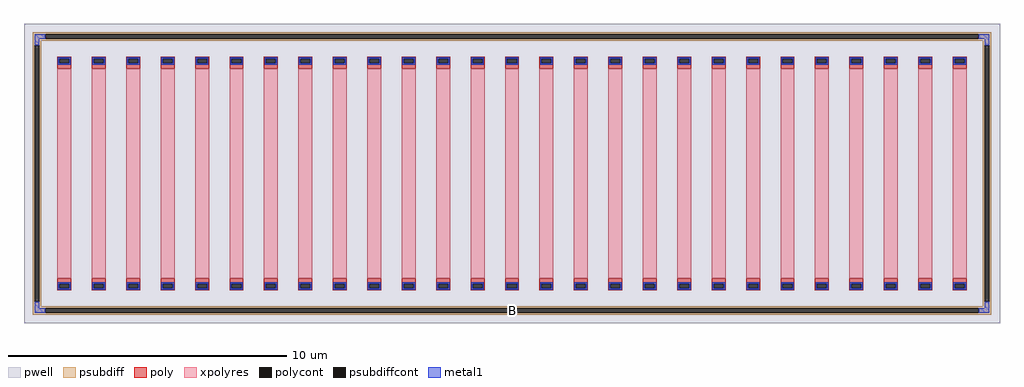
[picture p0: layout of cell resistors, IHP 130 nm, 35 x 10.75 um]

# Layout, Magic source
magic
tech ihp-sg13g2
magscale 1 2
<< pwell >>
rect -2837 -1059 4163 1091
<< psubdiff >>
rect -2775 1015 4101 1029
rect -2775 983 -2683 1015
rect 4009 983 4101 1015
rect -2775 969 4101 983
rect -2775 937 -2715 969
rect -2775 -905 -2761 937
rect -2729 -905 -2715 937
rect -2775 -937 -2715 -905
rect 4041 937 4101 969
rect 4041 -905 4055 937
rect 4087 -905 4101 937
rect 4041 -937 4101 -905
rect -2775 -951 4101 -937
rect -2775 -983 -2683 -951
rect 4009 -983 4101 -951
rect -2775 -997 4101 -983
<< psubdiffcont >>
rect -2683 983 4009 1015
rect -2761 -905 -2729 937
rect 4055 -905 4087 937
rect -2683 -983 4009 -951
<< metal1 >>
rect -2761 983 -2683 1015
rect 4009 983 4087 1015
rect -2761 937 -2729 983
rect -2761 -951 -2729 -905
rect 4055 937 4087 983
rect 4055 -951 4087 -905
rect -2761 -983 -2683 -951
rect 4009 -983 4087 -951
use rhigh  rhigh_0
transform 1 0 -2598 0 1 -734
box 0 -86 100 1586
use rhigh  rhigh_1
transform 1 0 -2351 0 1 -734
box 0 -86 100 1586
use rhigh  rhigh_2
transform 1 0 -2104 0 1 -734
box 0 -86 100 1586
use rhigh  rhigh_3
transform 1 0 -1857 0 1 -734
box 0 -86 100 1586
use rhigh  rhigh_4
transform 1 0 -1610 0 1 -734
box 0 -86 100 1586
use rhigh  rhigh_5
transform 1 0 -1363 0 1 -734
box 0 -86 100 1586
use rhigh  rhigh_6
transform 1 0 -1116 0 1 -734
box 0 -86 100 1586
use rhigh  rhigh_7
transform 1 0 -869 0 1 -734
box 0 -86 100 1586
use rhigh  rhigh_8
transform 1 0 -622 0 1 -734
box 0 -86 100 1586
use rhigh  rhigh_9
transform 1 0 -375 0 1 -734
box 0 -86 100 1586
use rhigh  rhigh_10
transform 1 0 -128 0 1 -734
box 0 -86 100 1586
use rhigh  rhigh_11
transform 1 0 119 0 1 -734
box 0 -86 100 1586
use rhigh  rhigh_12
transform 1 0 366 0 1 -734
box 0 -86 100 1586
use rhigh  rhigh_13
transform 1 0 613 0 1 -734
box 0 -86 100 1586
use rhigh  rhigh_14
transform 1 0 860 0 1 -734
box 0 -86 100 1586
use rhigh  rhigh_15
transform 1 0 1107 0 1 -734
box 0 -86 100 1586
use rhigh  rhigh_16
transform 1 0 1354 0 1 -734
box 0 -86 100 1586
use rhigh  rhigh_17
transform 1 0 1601 0 1 -734
box 0 -86 100 1586
use rhigh  rhigh_18
transform 1 0 1848 0 1 -734
box 0 -86 100 1586
use rhigh  rhigh_19
transform 1 0 2095 0 1 -734
box 0 -86 100 1586
use rhigh  rhigh_20
transform 1 0 2342 0 1 -734
box 0 -86 100 1586
use rhigh  rhigh_21
transform 1 0 2589 0 1 -734
box 0 -86 100 1586
use rhigh  rhigh_22
transform 1 0 2836 0 1 -734
box 0 -86 100 1586
use rhigh  rhigh_23
transform 1 0 3083 0 1 -734
box 0 -86 100 1586
use rhigh  rhigh_24
transform 1 0 3330 0 1 -734
box 0 -86 100 1586
use rhigh  rhigh_25
transform 1 0 3577 0 1 -734
box 0 -86 100 1586
use rhigh  rhigh_26
transform 1 0 3824 0 1 -734
box 0 -86 100 1586
<< labels >>
rlabel psubdiffcont 663 -967 663 -967 0 B
port 1 nsew
<< end >>

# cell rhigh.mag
magic
tech ihp-sg13g2
<< poly >>
rect 0 786 50 793
rect 0 770 7 786
rect 43 770 50 786
rect 0 750 50 770
rect 0 -20 50 0
rect 0 -36 7 -20
rect 43 -36 50 -20
rect 0 -43 50 -36
<< polycont >>
rect 7 770 43 786
rect 7 -36 43 -20
<< xpolyres >>
rect 0 0 50 750
<< metal1 >>
rect 2 786 48 791
rect 2 770 7 786
rect 43 770 48 786
rect 2 765 48 770
rect 2 -20 48 -15
rect 2 -36 7 -20
rect 43 -36 48 -20
rect 2 -41 48 -36
<< labels >>
flabel comment s 25 375 25 375 0 FreeSans 100 90 0 0 rpnd r=22493.913
<< properties >>
string GDS_END 1666
string GDS_FILE rhigh.gds
string GDS_START 100
<< end >>
